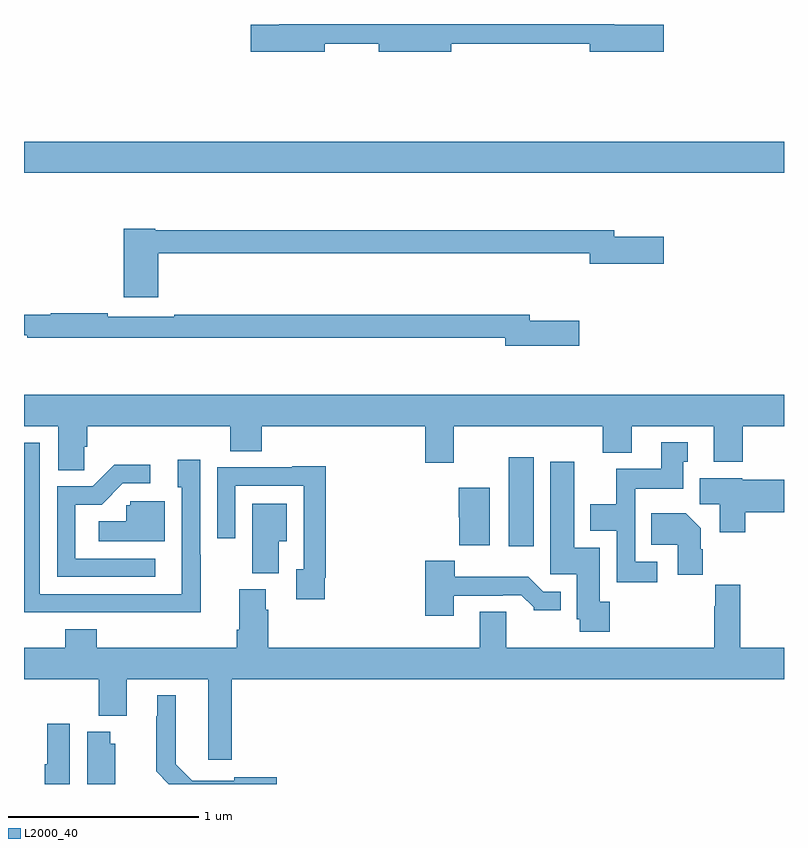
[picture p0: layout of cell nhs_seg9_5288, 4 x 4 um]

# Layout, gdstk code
import gdstk
lib = gdstk.Library(unit=1e-6, precision=1e-09)
def R(c, l, rs):  # rectangles x0, y0, x1, y1
    for r in rs: c.add(gdstk.rectangle(r[:2], r[2:], *l))
def P(c, l, *ps):  # polygons
    for p in ps: c.add(gdstk.Polygon(p, *l))
L2000_40 = (2000, 40)

nhs_seg9_5288 = lib.new_cell('nhs_seg9_5288')
R(nhs_seg9_5288, L2000_40, [(419.552,1231.752,419.683,1232.221), (417,1233.716,421,1233.88)])
P(nhs_seg9_5288, L2000_40, [(418.582,1234.396),(418.868,1234.396),(418.868,1234.354),(419.248,1234.354),(419.248,1234.396),(419.978,1234.396),(419.978,1234.354),(420.367,1234.354),(420.367,1234.496),(420.106,1234.496),(420.106,1234.5),(418.343,1234.5),(418.343,1234.496),(418.194,1234.496),(418.194,1234.354),(418.582,1234.354)],
  [(417.707,1233.294),(419.978,1233.294),(419.978,1233.239),(420.367,1233.239),(420.367,1233.381),(420.106,1233.381),(420.106,1233.415),(417.69,1233.415),(417.69,1233.423),(417.524,1233.423),(417.524,1233.063),(417.707,1233.063)],
  [(419.923,1232.937),(419.662,1232.937),(419.662,1232.971),(417.79,1232.971),(417.79,1232.958),(417.44,1232.958),(417.44,1232.978),(417.14,1232.978),(417.14,1232.971),(417,1232.971),(417,1232.862),(417.016,1232.862),(417.016,1232.85),(419.534,1232.85),(419.534,1232.807),(419.923,1232.807)],
  [(417.318,1232.275),(417.332,1232.275),(417.332,1232.384),(418.085,1232.384),(418.085,1232.251),(418.25,1232.251),(418.25,1232.384),(419.111,1232.384),(419.111,1232.19),(419.263,1232.19),(419.263,1232.384),(420.047,1232.384),(420.047,1232.243),(420.199,1232.243),(420.199,1232.384),(420.629,1232.384),(420.629,1232.195),(420.782,1232.195),(420.782,1232.384),(421,1232.384),(421,1232.548),(417,1232.548),(417,1232.384),(417.179,1232.384),(417.179,1232.152),(417.318,1232.152)],
  [(420.334,1231.671),(420.216,1231.671),(420.216,1232.054),(420.469,1232.054),(420.469,1232.196),(420.493,1232.196),(420.493,1232.299),(420.353,1232.299),(420.353,1232.158),(420.118,1232.158),(420.118,1231.972),(419.981,1231.972),(419.981,1231.832),(420.12,1231.832),(420.12,1231.563),(420.334,1231.563)],
  [(417.929,1231.706),(417.927,1231.706),(417.927,1232.206),(417.809,1232.206),(417.809,1232.061),(417.831,1232.061),(417.831,1231.5),(417.084,1231.5),(417.084,1232.295),(417,1232.295),(417,1231.404),(417.466,1231.404),(417.466,1231.403),(417.929,1231.403)],
  [(420.083,1231.458),(420.031,1231.458),(420.031,1231.744),(419.896,1231.744),(419.896,1232.197),(419.771,1232.197),(419.771,1231.605),(419.909,1231.605),(419.909,1231.368),(419.926,1231.368),(419.926,1231.302),(420.083,1231.302)],
  [(417.691,1231.686),(417.27,1231.686),(417.27,1231.971),(417.408,1231.971),(417.519,1232.082),(417.664,1232.082),(417.664,1232.18),(417.476,1232.18),(417.363,1232.067),(417.174,1232.067),(417.174,1231.59),(417.691,1231.59)],
  [(418.582,1231.585),(418.589,1231.585),(418.589,1232.173),(418.413,1232.173),(418.413,1232.166),(418.017,1232.166),(418.017,1231.794),(418.113,1231.794),(418.113,1232.07),(418.473,1232.07),(418.473,1231.629),(418.433,1231.629),(418.433,1231.473),(418.582,1231.473)],
  [(420.797,1231.931),(421,1231.931),(421,1232.101),(420.78,1232.101),(420.78,1232.11),(420.557,1232.11),(420.557,1231.972),(420.662,1231.972),(420.662,1231.824),(420.797,1231.824)],
  [(419.452,1232.059),(419.288,1232.059),(419.288,1231.905),(419.29,1231.905),(419.29,1231.757),(419.452,1231.757)],
  [(417.742,1231.989),(417.558,1231.989),(417.558,1231.968),(417.537,1231.968),(417.537,1231.882),(417.393,1231.882),(417.393,1231.778),(417.742,1231.778)],
  [(418.342,1231.778),(418.384,1231.778),(418.384,1231.975),(418.202,1231.975),(418.202,1231.609),(418.342,1231.609)],
  [(420.572,1231.736),(420.562,1231.736),(420.562,1231.846),(420.484,1231.924),(420.301,1231.924),(420.301,1231.76),(420.44,1231.76),(420.44,1231.602),(420.572,1231.602)],
  [(419.263,1231.491),(419.519,1231.491),(419.519,1231.494),(419.618,1231.494),(419.682,1231.43),(419.682,1231.415),(419.824,1231.415),(419.824,1231.512),(419.733,1231.512),(419.655,1231.591),(419.266,1231.591),(419.266,1231.675),(419.111,1231.675),(419.111,1231.386),(419.263,1231.386)],
  [(418.094,1231.052),(421,1231.052),(421,1231.216),(420.77,1231.216),(420.77,1231.549),(420.638,1231.549),(420.638,1231.436),(420.634,1231.436),(420.634,1231.216),(419.539,1231.216),(419.539,1231.406),(419.399,1231.406),(419.399,1231.216),(418.286,1231.216),(418.286,1231.418),(418.273,1231.418),(418.273,1231.524),(418.133,1231.524),(418.133,1231.312),(418.121,1231.312),(418.121,1231.216),(417.383,1231.216),(417.383,1231.315),(417.218,1231.315),(417.218,1231.216),(417,1231.216),(417,1231.052),(417.394,1231.052),(417.394,1230.86),(417.541,1230.86),(417.541,1231.052),(417.971,1231.052),(417.971,1230.627),(418.094,1230.627)],
  [(418.33,1230.536),(418.106,1230.536),(418.106,1230.516),(417.886,1230.516),(417.799,1230.604),(417.799,1230.967),(417.701,1230.967),(417.701,1230.857),(417.697,1230.857),(417.697,1230.566),(417.763,1230.5),(418.33,1230.5)],
  [(417.241,1230.817),(417.122,1230.817),(417.122,1230.604),(417.11,1230.604),(417.11,1230.5),(417.241,1230.5)],
  [(417.481,1230.711),(417.454,1230.711),(417.454,1230.775),(417.332,1230.775),(417.332,1230.5),(417.481,1230.5)])

lib.write_gds('nhs_seg9_5288.gds')
